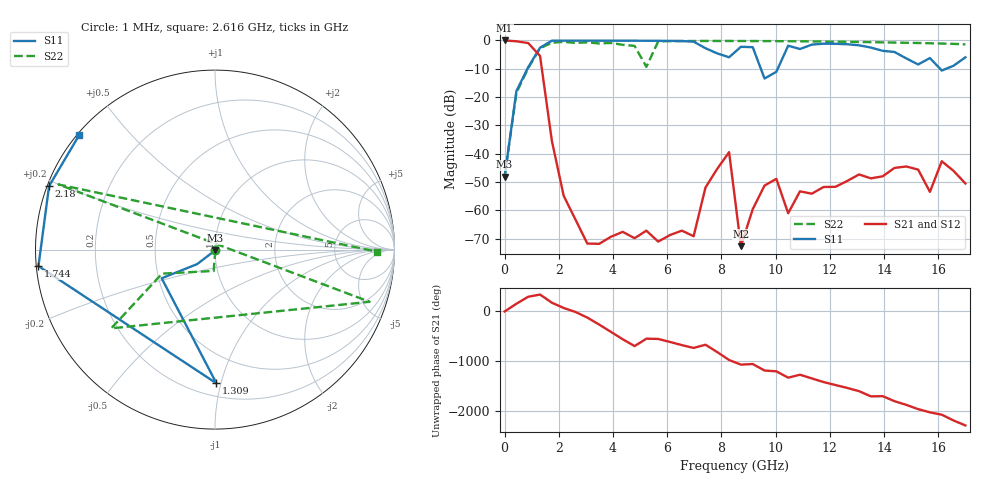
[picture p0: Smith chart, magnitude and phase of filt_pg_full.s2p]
# GHz S RI R 50
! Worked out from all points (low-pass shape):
!   40 points, 1 MHz to 17 GHz, reference 50 ohm
!   highest |S21| = -0.02 dB at 1 MHz (marker M1); lowest = -72.7 dB at 8.718 GHz (marker M2)
!   |S21| within 3 dB of the highest: start of sweep to 1.071 GHz
!   lowest |S11| = -48.2 dB at 1 MHz (marker M3), VSWR 1.01, Z = 50.2 - j0.347 ohm
!   |S11| at or under -10 dB: start of sweep to 843.8 MHz; 9.454 GHz to 10.08 GHz (623.8 MHz wide, 6.39 % of centre); 16.07 GHz to 16.29 GHz (226.9 MHz wide, 1.4 % of centre)
!   |S22| runs from -48.2 to -0.2 dB; largest |S21 - S12| = 1.4e-13
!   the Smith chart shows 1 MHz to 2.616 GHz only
!   S11 on the Smith chart (normalised r, x): 1 MHz: 1.00, -0.01; 1.309 GHz: 0.29, -0.97; 1.744 GHz: 0.01, -0.05; 2.18 GHz: 0.01, +0.18; 2.616 GHz: 0.01, +0.37
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0.001  0.0018 -0.00346  0.9981 -0.00894  0.9981 -0.00894  0.00179 -0.00346
0.4368718  -0.0991 -0.0807  -0.8815 0.3935  -0.8815 0.3935  -0.00729 -0.119
0.8727436  -0.2971 -0.1597  0.4077 -0.7997  0.4077 -0.7997  -0.295 -0.1337
1.308615  0.00797 -0.7451  0.5029 -0.1709  0.5029 -0.1709  -0.5782 -0.4388
1.744487  -0.9836 -0.0918  -0.0168 0.00116  -0.0168 0.00116  0.8616 -0.2908
2.180359  -0.9246 0.3538  0.000598 0.0017  0.000598 0.0017  -0.8717 0.3628
2.616231  -0.7554 0.6401  0.000674 -0.000121  0.000674 -0.000121  0.9013 -0.0115
3.052103  -0.5383 0.8309  -0.000143 -0.000216  -0.000143 -0.000216  -0.9171 0.1229
3.487974  -0.2951 0.9444  -2.82e-05 0.000254  -2.82e-05 0.000254  0.8595 0.2055
3.923846  -0.0405 0.9879  0.000212 -0.000267  0.000212 -0.000267  -0.8909 0.1416
4.359718  0.2134 0.9649  -0.000389 0.000147  -0.000389 0.000147  0.6531 -0.5224
4.79559  0.4539 0.8767  0.000299 0.000119  0.000299 0.000119  -0.00484 0.8007
5.231462  0.6675 0.7254  -0.000431 6.72e-05  -0.000431 6.72e-05  0.3414 0.000984
5.667333  0.8395 0.5131  -0.000271 6.84e-05  -0.000271 6.84e-05  -0.9203 0.2731
6.974949  0.8066 -0.5031  0.000337 -9.06e-05  0.000337 -9.06e-05  0.1144 0.9697
8.282564  -0.118 -0.4903  -0.00207 0.0104  -0.00207 0.0104  0.8263 0.5215
8.718436  0.7275 -0.2578  0.00023 3.25e-05  0.00023 3.25e-05  0.9336 0.2856
9.590179  -0.1987 -0.0739  -0.000959 -0.00256  -0.000959 -0.00256  0.9511 -0.2034
10.46192  0.5309 -0.6069  -0.00023 0.000856  -0.00023 0.000856  0.7422 -0.6202
11.33367  0.0629 -0.8399  -1.45e-05 0.00197  -1.45e-05 0.00197  0.3791 -0.8821
14.38477  -0.477 0.4039  0.00553 -0.000901  0.00553 -0.000901  -0.8484 -0.3445
17  0.4407 0.2416  -0.00222 -0.00197  -0.00222 -0.00197  -0.3836 0.7598
